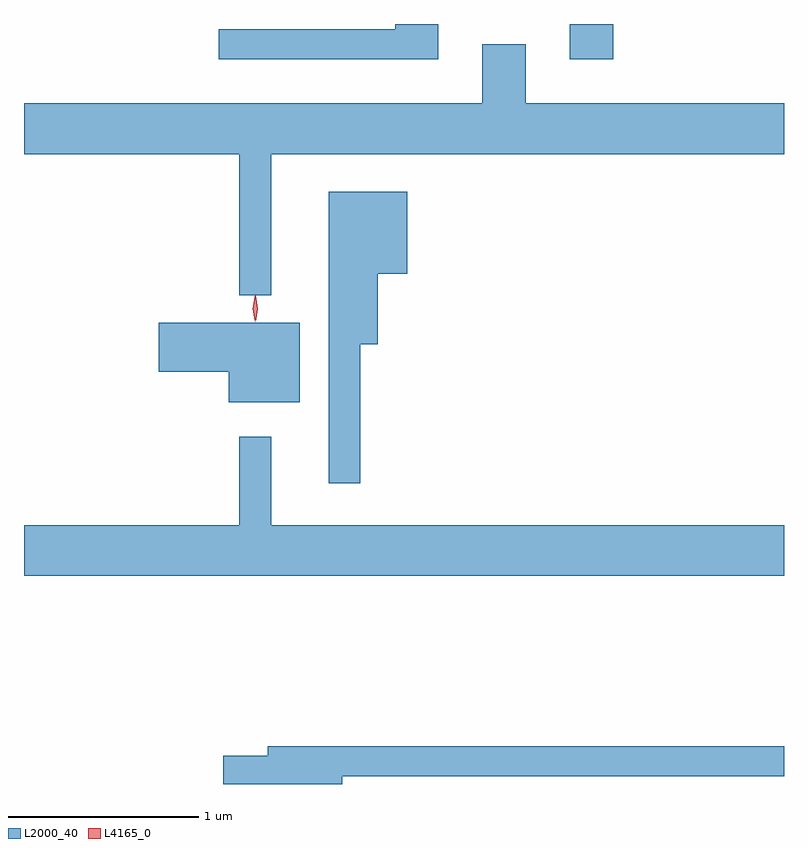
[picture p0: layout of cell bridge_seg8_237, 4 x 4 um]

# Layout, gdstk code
import gdstk
lib = gdstk.Library(unit=1e-6, precision=1e-09)
def R(c, l, rs):  # rectangles x0, y0, x1, y1
    for r in rs: c.add(gdstk.rectangle(r[:2], r[2:], *l))
def P(c, l, *ps):  # polygons
    for p in ps: c.add(gdstk.Polygon(p, *l))
L2000_40 = (2000, 40)
L4165_0 = (4165, 0)

bridge_seg8_237 = lib.new_cell('bridge_seg8_237')
R(bridge_seg8_237, L2000_40, [(1120.631,1856.896,1120.859,1857.081)])
P(bridge_seg8_237, L2000_40, [(1119.939,1857.081),(1119.711,1857.081),(1119.711,1857.054),(1118.783,1857.054),(1118.783,1856.896),(1119.939,1856.896)],
  [(1119.059,1856.396),(1121.758,1856.396),(1121.758,1856.664),(1120.399,1856.664),(1120.399,1856.974),(1120.171,1856.974),(1120.171,1856.664),(1117.758,1856.664),(1117.758,1856.396),(1118.891,1856.396),(1118.891,1855.653),(1119.059,1855.653)],
  [(1119.529,1855.396),(1119.619,1855.396),(1119.619,1855.766),(1119.774,1855.766),(1119.774,1856.199),(1119.361,1856.199),(1119.361,1854.663),(1119.529,1854.663)],
  [(1119.209,1855.509),(1118.466,1855.509),(1118.466,1855.251),(1118.836,1855.251),(1118.836,1855.091),(1119.209,1855.091)],
  [(1121.758,1854.444),(1119.059,1854.444),(1119.059,1854.908),(1118.891,1854.908),(1118.891,1854.444),(1117.758,1854.444),(1117.758,1854.176),(1121.758,1854.176)],
  [(1119.434,1853.121),(1121.758,1853.121),(1121.758,1853.279),(1119.041,1853.279),(1119.041,1853.229),(1118.806,1853.229),(1118.806,1853.081),(1119.434,1853.081)])
P(bridge_seg8_237, L4165_0, [(1118.977,1855.514),(1118.967,1855.582),(1118.976,1855.65),(1118.977,1855.65),(1118.977,1855.65),(1118.987,1855.582),(1118.978,1855.514),(1118.978,1855.514)],
  [(1118.972,1855.52),(1118.972,1855.52),(1118.962,1855.583),(1118.972,1855.646),(1118.972,1855.647),(1118.973,1855.646),(1118.982,1855.583),(1118.973,1855.52)])

lib.write_gds('bridge_seg8_237.gds')
